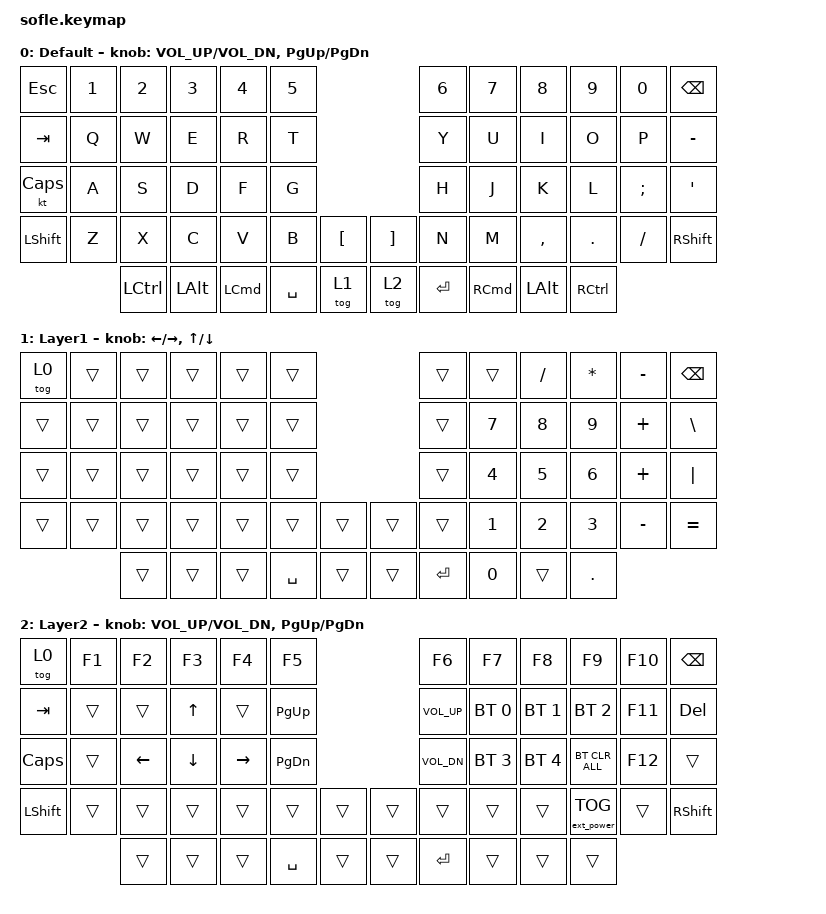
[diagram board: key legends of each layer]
/*
 * Copyright (c) 2020 The ZMK Contributors
 *
 * SPDX-License-Identifier: MIT
 */

#include <behaviors.dtsi>
#include <dt-bindings/zmk/bt.h>
#include <dt-bindings/zmk/ext_power.h>
#include <dt-bindings/zmk/keys.h>

#define BASE 0
#define LOWER 1
#define RAISE 2
#define ADJUST 3
#define extra_layer 4

/ {
    // Activate ADJUST layer by pressing raise and lower

    conditional_layers {
        compatible = "zmk,conditional-layers";

        adjust_layer {
            if-layers = <1 2>;
            then-layer = <3>;
        };
    };

    combos {
        compatible = "zmk,combos";

        backspace {
            bindings = <&kp BACKSPACE>;
            key-positions = <32 31>;
        };

        delete {
            bindings = <&kp DELETE>;
            key-positions = <27 33>;
        };

        esc {
            bindings = <&kp ESCAPE>;
            key-positions = <25 41>;
        };
    };

    behaviors {
        caps: caps {
            compatible = "zmk,behavior-caps-word";
            label = "CAPS";
            #binding-cells = <0>;
            continue-list = <POUND MINUS BACKSPACE UNDERSCORE>;
        };
    };

    keymap {
        compatible = "zmk,keymap";

        Default {
            display-name = "Default";

            // ------------------------------------------------------------------------------------------------------------
            // |   `   |  1  |  2  |  3   |  4   |  5   |                   |  6   |  7    |  8    |  9   |   0   |       |
            // |  ESC  |  Q  |  W  |  E   |  R   |  T   |                   |  Y   |  U    |  I    |  O   |   P   | BKSPC |
            // |  TAB  |  A  |  S  |  D   |  F   |  G   |                   |  H   |  J    |  K    |  L   |   ;   |   '   |
            // | SHIFT |  Z  |  X  |  C   |  V   |  B   |  MUTE  |  |       |  N   |  M    |  ,    |  .   |   /   | SHIFT |
            //               | GUI | ALT  | CTRL | LOWER|  ENTER |  | SPACE | RAISE| CTRL  | ALT   | GUI  |

            bindings = <
&kp ESC         &kp N1  &kp N2            &kp N3    &kp N4            &kp N5                           &kp N6      &kp N7             &kp N8     &kp N9             &kp N0    &kp BACKSPACE
&kp TAB         &kp Q   &kp W             &kp E     &kp R             &kp T                            &kp Y       &kp U              &kp I      &kp O              &kp P     &kp MINUS
&kt CAPSLOCK    &kp A   &kp S             &kp D     &kp F             &kp G                            &kp H       &kp J              &kp K      &kp L              &kp SEMI  &kp SQT
&kp LEFT_SHIFT  &kp Z   &kp X             &kp C     &kp V             &kp B      &kp LBKT    &kp RBKT  &kp N       &kp M              &kp COMMA  &kp DOT            &kp FSLH  &kp RSHFT
                        &kp LEFT_CONTROL  &kp LALT  &kp LEFT_COMMAND  &kp SPACE  &tog 1      &tog 2    &kp RETURN  &kp RIGHT_COMMAND  &kp LALT   &kp RIGHT_CONTROL
            >;

            sensor-bindings = <&inc_dec_kp C_VOL_UP C_VOL_DN &inc_dec_kp PG_UP PG_DN>;
        };

        Layer1 {
            display-name = "Layer1";

            // TODO: Some binds are waiting for shifted keycode support.
            // ------------------------------------------------------------------------------------------------------------
            // |       |  F1 |  F2 |  F3  |  F4  |  F5  |                   |  F6  |  F7   |  F8   |  F9  |  F10  |  F11  |
            // |   `   |  1  |  2  |  3   |  4   |  5   |                   |  6   |  7    |  8    |  9   |   0   |  F12  |
            // |       |  !  |  @  |  #   |  $   |  %   |                   |  ^   |  &    |  *    |  (   |   )   |   |   |
            // |       |  =  |  -  |  +   |  {   |  }   |        |  |       |  [   |  ]    |  ;    |  :   |   \   |       |
            //               |     |      |      |      |        |  |       |      |       |       |      |

            bindings = <
&tog 0  &trans  &trans  &trans  &trans  &trans                       &trans      &trans        &kp SLASH     &kp ASTERISK  &kp MINUS  &kp BACKSPACE
&trans  &trans  &trans  &trans  &trans  &trans                       &trans      &kp N7        &kp N8        &kp N9        &kp PLUS   &kp BACKSLASH
&trans  &trans  &trans  &trans  &trans  &trans                       &trans      &kp NUMBER_4  &kp N5        &kp NUMBER_6  &kp PLUS   &kp PIPE
&trans  &trans  &trans  &trans  &trans  &trans     &trans    &trans  &trans      &kp NUMBER_1  &kp NUMBER_2  &kp NUMBER_3  &kp MINUS  &kp EQUAL
                &trans  &trans  &trans  &kp SPACE  &trans    &trans  &kp RETURN  &kp N0        &trans        &kp PERIOD
            >;

            sensor-bindings =
                <&inc_dec_kp LEFT_ARROW RIGHT_ARROW>,
                <&inc_dec_kp UP_ARROW DOWN_ARROW>;
        };

        Layer2 {
            display-name = "Layer2";

            // ------------------------------------------------------------------------------------------------------------
            // | BTCLR | BT1  | BT2  |  BT3  |  BT4  |  BT5 |                |      |      |       |      |       |       |
            // |       | INS  | PSCR | GUI   |       |      |                | PGUP |      |   ^   |      |       |       |
            // |       | ALT  | CTRL | SHIFT |       | CAPS |                | PGDN |   <- |   v   |  ->  |  DEL  | BKSPC |
            // |       | UNDO | CUT  | COPY  | PASTE |      |      |  |      |      |      |       |      |       |       |
            //                |      |       |       |      |      |  |      |      |      |       |      |

            bindings = <
&tog 0          &kp F1  &kp F2          &kp F3          &kp F4           &kp F5                           &kp F6        &kp F7        &kp F8        &kp F9             &kp F10  &kp BACKSPACE
&kp TAB         &trans  &trans          &kp UP_ARROW    &trans           &kp PAGE_UP                      &kp C_VOL_UP  &bt BT_SEL 0  &bt BT_SEL 1  &bt BT_SEL 2       &kp F11  &kp DELETE
&kp CAPS        &trans  &kp LEFT_ARROW  &kp DOWN_ARROW  &kp RIGHT_ARROW  &kp PAGE_DOWN                    &kp C_VOL_DN  &bt BT_SEL 3  &bt BT_SEL 4  &bt BT_CLR_ALL     &kp F12  &trans
&kp LEFT_SHIFT  &trans  &trans          &trans          &trans           &trans         &trans    &trans  &trans        &trans        &trans        &ext_power EP_TOG  &trans   &kp RIGHT_SHIFT
                        &trans          &trans          &trans           &kp SPACE      &trans    &trans  &kp RETURN    &trans        &trans        &trans
            >;

            sensor-bindings = <&inc_dec_kp C_VOL_UP C_VOL_DN &inc_dec_kp PG_UP PG_DN>;
        };
    };
};
